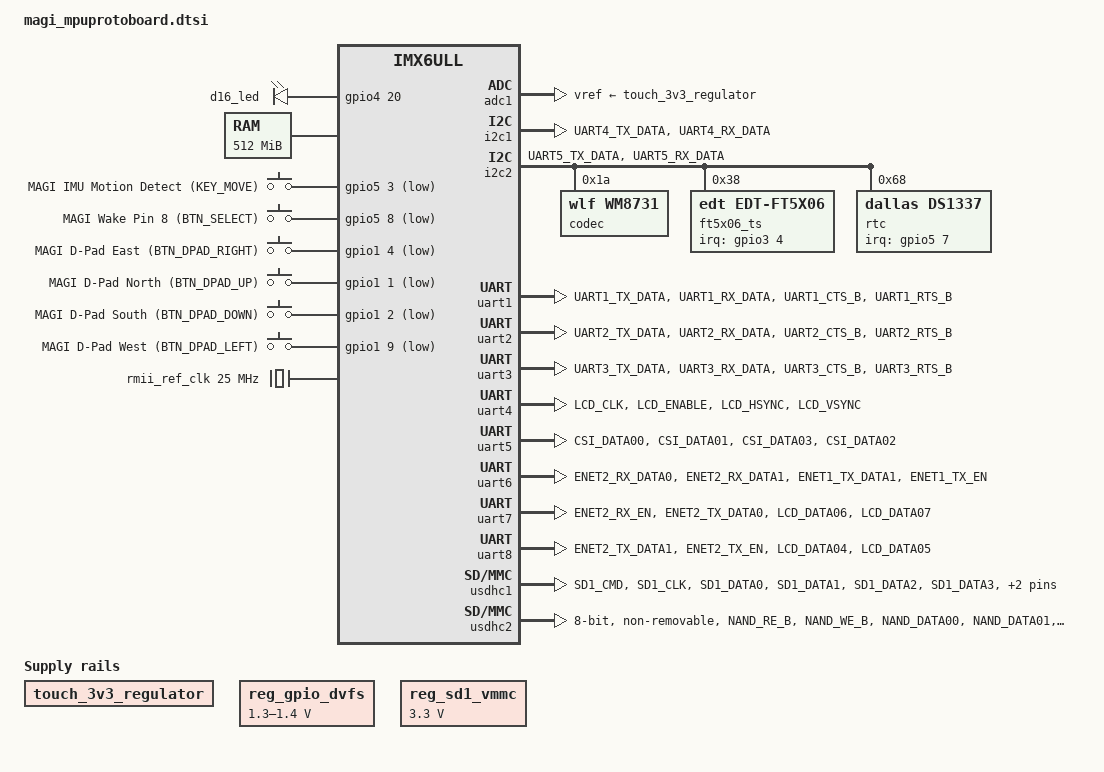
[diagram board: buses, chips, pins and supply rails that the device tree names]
/*
 * Copyright (C) 2015-2019 Variscite Ltd. - https://www.variscite.com
 *
 * This program is free software; you can redistribute it and/or modify
 * it under the terms of the GNU General Public License version 2 as
 * published by the Free Software Foundation.
 */

#include "imx6ull.dtsi"

/ {

  backlight {
		compatible = "pwm-backlight";
		pwms = <&pwm1 0 20000>;
		brightness-levels = <0 4 8 16 32 64 128 255>;
		default-brightness-level = <6>;
		status = "disabled";
	};

	chosen {
		stdout-path = &uart1;
	};

  /*keys {
		compatible = "gpio-keys";
		pinctrl-names = "default";
		pinctrl-0 = <&pinctrl_gpio_keys>;

		user {
			gpios = <&gpio1 0 GPIO_ACTIVE_LOW>;
			linux,code = <KEY_BACK>;
			gpio-key,wakeup;
		};
	};*/

	leds {
		compatible = "gpio-leds";
		pinctrl-names = "default";
		pinctrl-0 = <&pinctrl_gpio_leds>;

		d16_led {
			gpios = <&gpio4 20 GPIO_ACTIVE_HIGH>;
			linux,default-trigger = "heartbeat";
		};
	};

	memory {
		reg = <0x80000000 0x20000000>;
	};

	pxp_v4l2 {
		compatible = "fsl,imx6ul-pxp-v4l2", "fsl,imx6sx-pxp-v4l2", "fsl,imx6sl-pxp-v4l2";
		status = "disabled";
	};

	regulators {
		compatible = "simple-bus";
		#address-cells = <1>;
		#size-cells = <0>;

		touch_3v3_regulator: touch_3v3_regulator {
			compatible = "regulator-fixed";
			regulator-name = "touch_3v3_supply";
			regulator-always-on;
			status = "okay";
		};

		reg_gpio_dvfs: regulator-gpio {
			compatible = "regulator-gpio";
			regulator-min-microvolt = <1300000>;
			regulator-max-microvolt = <1400000>;
			regulator-name = "gpio_dvfs";
			regulator-type = "voltage";
			gpios = <&gpio4 13 GPIO_ACTIVE_HIGH>;
			states = <1300000 0x1 1400000 0x0>;
		};
        
    reg_sd1_vmmc: regulator_sd1_vmmc {
			compatible = "regulator-fixed";
			regulator-name = "VSD_3V3";
			regulator-min-microvolt = <3300000>;
			regulator-max-microvolt = <3300000>;
		};
	};

	sound {
		compatible = "simple-audio-card";
		simple-audio-card,name = "wm8731audio";
		simple-audio-card,widgets =
			"Headphone", "Headphone Jack",
			"Line", "Line Jack",
			"Microphone", "Mic Jack";
		simple-audio-card,routing =
			"Headphone Jack", "RHPOUT",
			"Headphone Jack", "LHPOUT",
			"LLINEIN", "Line Jack",
			"RLINEIN", "Line Jack",
			"MICIN", "Mic Bias",
			"Mic Bias", "Mic Jack";
		simple-audio-card,format = "i2s";
		simple-audio-card,bitclock-master = <&sound_master>;
		simple-audio-card,frame-master = <&sound_master>;

		sound_master: simple-audio-card,cpu {
			sound-dai = <&sai2>;
		};

		simple-audio-card,codec {
			sound-dai = <&codec>;
			system-clock-frequency = <12288000>;
		};
	};

  wakepins {
		compatible = "gpio-keys";
		pinctrl-names = "default";
		pinctrl-0 = <&pinctrl_wake_pins>;

    /*gpio5_io1 {
			label = "MAGI Wake Pin 1 (BTN_1)";
			gpios = <&gpio5 1 GPIO_ACTIVE_LOW>;
			linux,code = <BTN_1>;
			gpio-key,wakeup;
		};*/

		/* MCU Motion Alert */
    gpio5_io3 {
			label = "MAGI IMU Motion Detect (KEY_MOVE)";
			gpios = <&gpio5 3 GPIO_ACTIVE_LOW>;
			linux,code = <KEY_MOVE>;
			gpio-key,wakeup;
		};
        
    /*gpio5_io5 {
			label = "MAGI Wake Pin 5 (BTN_5)";
			gpios = <&gpio5 5 GPIO_ACTIVE_LOW>;
			linux,code = <BTN_5>;
			gpio-key,wakeup;
		};*/

		/* Keypad Select */
    gpio5_io8 {
			label = "MAGI Wake Pin 8 (BTN_SELECT)";
			gpios = <&gpio5 8 GPIO_ACTIVE_LOW>;
			linux,code = <BTN_SELECT>;
			gpio-key,wakeup;
		};

    /* Keypad East */
    gpio1_io4 {
			label = "MAGI D-Pad East (BTN_DPAD_RIGHT)";
			gpios = <&gpio1 4 GPIO_ACTIVE_LOW>;
			linux,code = <BTN_DPAD_RIGHT>;
			gpio-key,wakeup;
		};

		/* Keypad North */
    gpio1_io1 {
			label = "MAGI D-Pad North (BTN_DPAD_UP)";
			gpios = <&gpio1 1 GPIO_ACTIVE_LOW>;
			linux,code = <BTN_DPAD_UP>;
			gpio-key,wakeup;
		};

		/* Keypad South */
    gpio1_io2 {
			label = "MAGI D-Pad South (BTN_DPAD_DOWN)";
			gpios = <&gpio1 2 GPIO_ACTIVE_LOW>;
			linux,code = <BTN_DPAD_DOWN>;
			gpio-key,wakeup;
		};

		/* Keypad West */
    gpio1_io9 {
			label = "MAGI D-Pad West (BTN_DPAD_LEFT)";
			gpios = <&gpio1 9 GPIO_ACTIVE_LOW>;
			linux,code = <BTN_DPAD_LEFT>;
			gpio-key,wakeup;
		};
	};
};

&adc1 {
	vref-supply = <&touch_3v3_regulator>;
	status = "okay";
};

&can1 {
	pinctrl-names = "default";
	pinctrl-0 = <&pinctrl_flexcan1>;
	status = "disabled";
};

&clks {
  assigned-clocks = <&clks IMX6UL_CLK_PLL4_AUDIO_DIV>;
	assigned-clock-rates = <786432000>;

	/* ref_clk for micrel ethernet phy */
	rmii_ref_clk: rmii_ref_clk_grp {
		compatible = "fixed-clock";
		#clock-cells = <0>;
		clock-frequency = <25000000>;
		clock-output-names = "rmii-ref";
	};
};

&cpu0 {
	arm-supply = <&reg_arm>;
	soc-supply = <&reg_soc>;
	dc-supply = <&reg_gpio_dvfs>;
};

&fec1 {
	pinctrl-names = "default";
	pinctrl-0 = <&pinctrl_enet1>, <&pinctrl_enet1_gpio>;
	phy-mode = "rmii";
	phy-reset-gpios=<&gpio5 0 GPIO_ACTIVE_LOW>;
	phy-reset-duration=<100>;
	phy-reset-on-resume;
	phy-handle = <&ethphy0>;
	status = "disabled";

};

&fec2 {
	pinctrl-names = "default";
	pinctrl-0 = <&pinctrl_enet2>, <&pinctrl_enet2_gpio>, <&pinctrl_enet2_mdio>;
	phy-mode = "rmii";
	phy-handle = <&ethphy1>;
	phy-reset-gpios=<&gpio1 10 GPIO_ACTIVE_LOW>;
	phy-reset-duration=<100>;
	phy-reset-on-resume;
	status = "disabled";

	mdio {
		#address-cells = <1>;
		#size-cells = <0>;

		ethphy0: ethernet-phy@1 {
			compatible = "ethernet-phy-ieee802.3-c22";
			micrel,rmii-reference-clock-select-25-mhz;
			micrel,led-mode = <1>;
			clocks = <&rmii_ref_clk>;
			clock-names = "rmii-ref";
			reg = <1>;
		};

		ethphy1: ethernet-phy@3 {
			compatible = "ethernet-phy-ieee802.3-c22";
			micrel,rmii-reference-clock-select-25-mhz;
			micrel,led-mode = <1>;
			clocks = <&rmii_ref_clk>;
			clock-names = "rmii-ref";
			reg = <3>;
		};
	};
};

&gpc {
	fsl,cpu_pupscr_sw2iso = <0x2>;
	fsl,cpu_pupscr_sw = <0x1>;
	fsl,cpu_pdnscr_iso2sw = <0x1>;
	fsl,cpu_pdnscr_iso = <0x1>;
	fsl,ldo-bypass = <0>; /* DCDC, ldo-enable */
};

&i2c1 {
	clock_frequency = <400000>;
	pinctrl-names = "default";
	pinctrl-0 = <&pinctrl_i2c1>;
	status = "okay";
};

&i2c2 {
	clock_frequency = <100000>;
	pinctrl-names = "default";
	pinctrl-0 = <&pinctrl_i2c2>;
	status = "okay";

	/*bat_2: battery {
		compatible = "simple-battery";
		voltage-min-design-microvolt = <2700000>;
		energy-full-design-microwatt-hours = <18000000>;
		charge-full-design-microamp-hours = <5000000>;
		chem-id = <1202>;
	};

	bq27426_2: fuel-gauge@55 {
		compatible = "ti,bq27426";
		reg = <0x55>;
		monitored-battery = <&bat_2>;
	};*/

	codec: wm8731@1a {
		#sound-dai-cells = <0>;
		compatible = "wlf,wm8731";
		reg = <0x1a>;
		clocks = <&clks IMX6UL_CLK_SAI2>;
		clock-names = "mclk";
	};

	ft5x06_ts@38 {
		compatible = "edt,edt-ft5x06";
		reg = <0x38>;
		pinctrl-names = "default";
		pinctrl-0 = <&pinctrl_ft5x06_ts_gpio>;
		interrupt-parent = <&gpio3>;
		interrupts = <4 0>;
		touchscreen-size-x = <800>;
		touchscreen-size-y = <480>;
		touchscreen-inverted-x;
		touchscreen-inverted-y;
	};

	/* DS1337 RTC module */
	rtc@0x68 {
		compatible = "dallas,ds1337";
		reg = <0x68>;
		pinctrl-names = "default";
		pinctrl-0 = <&pinctrl_rtc>;
		interrupt-parent = <&gpio5>;
		interrupts = <7 IRQ_TYPE_EDGE_FALLING>;
	};
};

&iomuxc {

    pinctrl-names = "default";
	pinctrl-0 = <&pinctrl_hog>;

	pinctrl-0 = <&pinctrl_hog_1>;

  pinctrl_enet1: enet1grp {
		fsl,pins = <
			MX6UL_PAD_ENET1_RX_EN__ENET1_RX_EN	0x1b0b0
			MX6UL_PAD_ENET1_RX_ER__ENET1_RX_ER	0x1b0b0
			MX6UL_PAD_ENET1_RX_DATA0__ENET1_RDATA00	0x1b0b0
			MX6UL_PAD_ENET1_RX_DATA1__ENET1_RDATA01	0x1b0b0
			MX6UL_PAD_ENET1_TX_EN__ENET1_TX_EN	0x1b0b0
			MX6UL_PAD_ENET1_TX_DATA0__ENET1_TDATA00	0x1b0b0
			MX6UL_PAD_ENET1_TX_DATA1__ENET1_TDATA01	0x1b0b0
			MX6UL_PAD_ENET1_TX_CLK__ENET1_REF_CLK1	0x4001b031
		>;
	};    
    
  pinctrl_enet1_mdio: enet1_mdiogrp {
		fsl,pins = <
			MX6UL_PAD_GPIO1_IO06__ENET1_MDIO	0x1b0b0
			MX6UL_PAD_GPIO1_IO07__ENET1_MDC		0x1b0b0
		>;
	};

	pinctrl_enet2: enet2grp {
		fsl,pins = <
			MX6UL_PAD_ENET2_RX_EN__ENET2_RX_EN	0x1b0b0
			MX6UL_PAD_ENET2_RX_ER__ENET2_RX_ER	0x1b0b0
			MX6UL_PAD_ENET2_RX_DATA0__ENET2_RDATA00	0x1b0b0
			MX6UL_PAD_ENET2_RX_DATA1__ENET2_RDATA01	0x1b0b0
			MX6UL_PAD_ENET2_TX_EN__ENET2_TX_EN	0x1b0b0
			MX6UL_PAD_ENET2_TX_DATA0__ENET2_TDATA00	0x1b0b0
			MX6UL_PAD_ENET2_TX_DATA1__ENET2_TDATA01	0x1b0b0
			MX6UL_PAD_ENET2_TX_CLK__ENET2_REF_CLK2	0x4001b031
		>;
	};

	pinctrl_enet2_gpio: enet2_gpiogrp {
		fsl,pins = <
			MX6UL_PAD_JTAG_MOD__GPIO1_IO10		0x1b0b0 /* fec2 reset */
		>;
	};

	pinctrl_enet2_mdio: enet2_mdiogrp {
		fsl,pins = <
			MX6UL_PAD_GPIO1_IO06__ENET2_MDIO	0x1b0b0
			MX6UL_PAD_GPIO1_IO07__ENET2_MDC		0x1b0b0
		>;
	};

	pinctrl_flexcan1: flexcan1grp {
		fsl,pins = <
			MX6UL_PAD_LCD_DATA09__FLEXCAN1_RX	0x1b020
			MX6UL_PAD_LCD_DATA08__FLEXCAN1_TX	0x1b020
		>;
	};

	pinctrl_ft5x06_ts_gpio: ft5x06_ts_gpiogrp {
		fsl,pins = <
			MX6UL_PAD_LCD_RESET__GPIO3_IO04		0x80000000
		>;
	};

	/*pinctrl_gpio_keys: gpio_keysgrp {
		fsl,pins = <
			MX6UL_PAD_GPIO1_IO00__GPIO1_IO00	0x17059 /* User Button */
	/*	>;
	};*/

	pinctrl_gpio_leds: gpio_ledsgrp {
		fsl,pins = <
			MX6UL_PAD_CSI_HSYNC__GPIO4_IO20		0x1b0b0 /* User LED */
		>;
	};

  pinctrl_hog_1: hoggrp-1 {
    	fsl,pins = <
			MX6UL_PAD_LCD_DATA22__GPIO3_IO27	0x1b0b0
			MX6UL_PAD_LCD_DATA23__GPIO3_IO28    0x1b0b0
            MX6UL_PAD_JTAG_TMS__GPIO1_IO11      0x1b0b0
			MX6UL_PAD_JTAG_TDO__GPIO1_IO12	    0x1b0b0
			MX6UL_PAD_JTAG_TDI__GPIO1_IO13		0x1b0b0
            MX6UL_PAD_JTAG_TCK__GPIO1_IO14      0x1b0b0
            MX6UL_PAD_JTAG_TRST_B__GPIO1_IO15   0x1b0b0
			MX6UL_PAD_CSI_DATA04__GPIO4_IO25	0x1b0b0
			MX6UL_PAD_CSI_DATA05__GPIO4_IO26	0x1b0b0
            MX6UL_PAD_CSI_DATA06__GPIO4_IO27	0x1b0b0
			MX6UL_PAD_CSI_DATA07__GPIO4_IO28	0x1b0b0
		>;
	};

	pinctrl_i2c1: i2c1grp {
		fsl,pins = <
			MX6UL_PAD_UART4_TX_DATA__I2C1_SCL	0x4001b8b0
			MX6UL_PAD_UART4_RX_DATA__I2C1_SDA	0x4001b8b0
		>;
	};
    
  pinctrl_i2c2: i2c2grp {
		fsl,pins = <
			MX6UL_PAD_UART5_TX_DATA__I2C2_SCL	0x4001b8b0
			MX6UL_PAD_UART5_RX_DATA__I2C2_SDA	0x4001b8b0
		>;
	};

	pinctrl_lcdif_ctrl: lcdifctrlgrp {
		fsl,pins = <
			MX6UL_PAD_LCD_CLK__LCDIF_CLK		0x79
			MX6UL_PAD_LCD_ENABLE__LCDIF_ENABLE	0x79
		>;
	};

	pinctrl_lcdif_dat: lcdifdatgrp {
		fsl,pins = <
			MX6UL_PAD_LCD_DATA02__LCDIF_DATA02	0x79
			MX6UL_PAD_LCD_DATA03__LCDIF_DATA03	0x79
			MX6UL_PAD_LCD_DATA04__LCDIF_DATA04	0x79
			MX6UL_PAD_LCD_DATA05__LCDIF_DATA05	0x79
			MX6UL_PAD_LCD_DATA06__LCDIF_DATA06	0x79
			MX6UL_PAD_LCD_DATA07__LCDIF_DATA07	0x79
			MX6UL_PAD_LCD_DATA10__LCDIF_DATA10	0x79
			MX6UL_PAD_LCD_DATA11__LCDIF_DATA11	0x79
			MX6UL_PAD_LCD_DATA12__LCDIF_DATA12	0x79
			MX6UL_PAD_LCD_DATA13__LCDIF_DATA13	0x79
			MX6UL_PAD_LCD_DATA14__LCDIF_DATA14	0x79
			MX6UL_PAD_LCD_DATA15__LCDIF_DATA15	0x79
			MX6UL_PAD_LCD_DATA18__LCDIF_DATA18	0x79
			MX6UL_PAD_LCD_DATA19__LCDIF_DATA19	0x79
			MX6UL_PAD_LCD_DATA20__LCDIF_DATA20	0x79
			MX6UL_PAD_LCD_DATA21__LCDIF_DATA21	0x79
			MX6UL_PAD_LCD_DATA22__LCDIF_DATA22	0x79
			MX6UL_PAD_LCD_DATA23__LCDIF_DATA23	0x79
		>;
	};

	pinctrl_pwm1: pwm1grp {
		fsl,pins = <
			MX6UL_PAD_LCD_DATA00__PWM1_OUT		0x110b0
		>;
	};

  pinctrl_sai2: sai2grp {
		fsl,pins = <
			MX6UL_PAD_JTAG_TDI__SAI2_TX_BCLK	0x17088
			MX6UL_PAD_JTAG_TDO__SAI2_TX_SYNC	0x17088
			MX6UL_PAD_JTAG_TRST_B__SAI2_TX_DATA	0x11088
			MX6UL_PAD_JTAG_TCK__SAI2_RX_DATA	0x11088
			MX6UL_PAD_JTAG_TMS__SAI2_MCLK		0x17088
		>;
	};

	pinctrl_tsc: tscgrp {
		fsl,pins = <
			MX6UL_PAD_GPIO1_IO01__GPIO1_IO01	0xb0
			MX6UL_PAD_GPIO1_IO02__GPIO1_IO02	0xb0
			MX6UL_PAD_GPIO1_IO03__GPIO1_IO03	0xb0
			MX6UL_PAD_GPIO1_IO04__GPIO1_IO04	0xb0
		>;
	};

	pinctrl_uart1: uart1grp {
		fsl,pins = <
			MX6UL_PAD_UART1_TX_DATA__UART1_DCE_TX   0x1b0b1
			MX6UL_PAD_UART1_RX_DATA__UART1_DCE_RX   0x1b0b1
            MX6UL_PAD_UART1_CTS_B__UART1_DCE_CTS    0x1b0b1
            MX6UL_PAD_UART1_RTS_B__UART1_DCE_RTS    0x1b0b1
		>;
	};

  pinctrl_uart2: uart2grp {
		fsl,pins = <
			MX6UL_PAD_UART2_TX_DATA__UART2_DCE_TX	0x1b0b1
			MX6UL_PAD_UART2_RX_DATA__UART2_DCE_RX	0x1b0b1
			MX6UL_PAD_UART2_CTS_B__UART2_DCE_CTS	0x1b0b1
			MX6UL_PAD_UART2_RTS_B__UART2_DCE_RTS	0x1b0b1
		>;
	};

	pinctrl_uart3: uart3grp {
		fsl,pins = <
			MX6UL_PAD_UART3_TX_DATA__UART3_DCE_TX	0x1b0b1
			MX6UL_PAD_UART3_RX_DATA__UART3_DCE_RX	0x1b0b1
			MX6UL_PAD_UART3_CTS_B__UART3_DCE_CTS	0x1b0b1
			MX6UL_PAD_UART3_RTS_B__UART3_DCE_RTS	0x1b0b1
		>;
	};

  pinctrl_uart4: uart4grp {
		fsl,pins = <
			MX6UL_PAD_LCD_CLK__UART4_DCE_TX     0x1b0b1
			MX6UL_PAD_LCD_ENABLE__UART4_DCE_RX	0x1b0b1
			MX6UL_PAD_LCD_HSYNC__UART4_DCE_CTS	0x1b0b1
			MX6UL_PAD_LCD_VSYNC__UART4_DCE_RTS	0x1b0b1
		>;
	};

  pinctrl_uart5: uart5grp {
		fsl,pins = <
			MX6UL_PAD_CSI_DATA00__UART5_DCE_TX      0x1b0b1
			MX6UL_PAD_CSI_DATA01__UART5_DCE_RX	    0x1b0b1
			MX6UL_PAD_CSI_DATA03__UART5_DCE_CTS     0x1b0b1
			MX6UL_PAD_CSI_DATA02__UART5_DCE_RTS	    0x1b0b1
		>;
	};

  pinctrl_uart6: uart6grp {
		fsl,pins = <
			MX6UL_PAD_ENET2_RX_DATA0__UART6_DCE_TX      0x1b0b1
			MX6UL_PAD_ENET2_RX_DATA1__UART6_DCE_RX	    0x1b0b1
			MX6UL_PAD_ENET1_TX_DATA1__UART6_DCE_CTS     0x1b0b1
			MX6UL_PAD_ENET1_TX_EN__UART6_DCE_RTS	    0x1b0b1
		>;
	};

  pinctrl_uart7: uart7grp {
		fsl,pins = <
			MX6UL_PAD_ENET2_RX_EN__UART7_DCE_TX     0x1b0b1
			MX6UL_PAD_ENET2_TX_DATA0__UART7_DCE_RX  0x1b0b1
			MX6UL_PAD_LCD_DATA06__UART7_DCE_CTS	    0x1b0b1
			MX6UL_PAD_LCD_DATA07__UART7_DCE_RTS	    0x1b0b1
		>;
	};

  pinctrl_uart8: uart8grp {
		fsl,pins = <
			MX6UL_PAD_ENET2_TX_DATA1__UART8_DCE_TX  0x1b0b1
			MX6UL_PAD_ENET2_TX_EN__UART8_DCE_RX	    0x1b0b1
            MX6UL_PAD_LCD_DATA04__UART8_DCE_CTS     0x1b0b1
            MX6UL_PAD_LCD_DATA05__UART8_DCE_RTS     0x1b0b1
		>;
	};

	pinctrl_usdhc1: usdhc1grp {
		fsl,pins = <
			MX6UL_PAD_SD1_CMD__USDHC1_CMD		0x17059
			MX6UL_PAD_SD1_CLK__USDHC1_CLK		0x17059
			MX6UL_PAD_SD1_DATA0__USDHC1_DATA0	0x17059
			MX6UL_PAD_SD1_DATA1__USDHC1_DATA1	0x17059
			MX6UL_PAD_SD1_DATA2__USDHC1_DATA2	0x17059
			MX6UL_PAD_SD1_DATA3__USDHC1_DATA3	0x17059
		>;
	};

	pinctrl_usdhc1_100mhz: usdhc1grp100mhz {
		fsl,pins = <
			MX6UL_PAD_SD1_CMD__USDHC1_CMD		0x170b9
			MX6UL_PAD_SD1_CLK__USDHC1_CLK		0x100b9
			MX6UL_PAD_SD1_DATA0__USDHC1_DATA0	0x170b9
			MX6UL_PAD_SD1_DATA1__USDHC1_DATA1	0x170b9
			MX6UL_PAD_SD1_DATA2__USDHC1_DATA2	0x170b9
			MX6UL_PAD_SD1_DATA3__USDHC1_DATA3	0x170b9
		>;
	};

	pinctrl_usdhc1_200mhz: usdhc1grp200mhz {
		fsl,pins = <
			MX6UL_PAD_SD1_CMD__USDHC1_CMD		0x170f9
			MX6UL_PAD_SD1_CLK__USDHC1_CLK		0x100f9
			MX6UL_PAD_SD1_DATA0__USDHC1_DATA0	0x170f9
			MX6UL_PAD_SD1_DATA1__USDHC1_DATA1	0x170f9
			MX6UL_PAD_SD1_DATA2__USDHC1_DATA2	0x170f9
			MX6UL_PAD_SD1_DATA3__USDHC1_DATA3	0x170f9
		>;
	};

	pinctrl_usdhc1_gpio: usdhc1_gpiogrp {
		fsl,pins = <
			MX6UL_PAD_CSI_VSYNC__GPIO4_IO19		0x1b0b1 /* CD */
		>;
	};

  pinctrl_usdhc2: usdhc2grp {
		fsl,pins = <
			MX6UL_PAD_NAND_RE_B__USDHC2_CLK		0x10069
			MX6UL_PAD_NAND_WE_B__USDHC2_CMD		0x17059
			MX6UL_PAD_NAND_DATA00__USDHC2_DATA0	0x17059
			MX6UL_PAD_NAND_DATA01__USDHC2_DATA1	0x17059
			MX6UL_PAD_NAND_DATA02__USDHC2_DATA2	0x17059
			MX6UL_PAD_NAND_DATA03__USDHC2_DATA3	0x17059
			MX6UL_PAD_NAND_DATA04__USDHC2_DATA4	0x17059
			MX6UL_PAD_NAND_DATA05__USDHC2_DATA5	0x17059
			MX6UL_PAD_NAND_DATA06__USDHC2_DATA6	0x17059
			MX6UL_PAD_NAND_DATA07__USDHC2_DATA7	0x17059
		>;
	};

	pinctrl_usdhc2_100mhz: usdhc2grp_100mhz {
		fsl,pins = <
			MX6UL_PAD_NAND_RE_B__USDHC2_CLK		0x100b9
			MX6UL_PAD_NAND_WE_B__USDHC2_CMD		0x170b9
			MX6UL_PAD_NAND_DATA00__USDHC2_DATA0	0x170b9
			MX6UL_PAD_NAND_DATA01__USDHC2_DATA1	0x170b9
			MX6UL_PAD_NAND_DATA02__USDHC2_DATA2	0x170b9
			MX6UL_PAD_NAND_DATA03__USDHC2_DATA3	0x170b9
			MX6UL_PAD_NAND_DATA04__USDHC2_DATA4	0x170b9
			MX6UL_PAD_NAND_DATA05__USDHC2_DATA5	0x170b9
			MX6UL_PAD_NAND_DATA06__USDHC2_DATA6	0x170b9
			MX6UL_PAD_NAND_DATA07__USDHC2_DATA7	0x170b9
		>;
	};

	pinctrl_usdhc2_200mhz: usdhc2grp_200mhz {
		fsl,pins = <
			MX6UL_PAD_NAND_RE_B__USDHC2_CLK		0x100f9
			MX6UL_PAD_NAND_WE_B__USDHC2_CMD		0x170f9
			MX6UL_PAD_NAND_DATA00__USDHC2_DATA0	0x170f9
			MX6UL_PAD_NAND_DATA01__USDHC2_DATA1	0x170f9
			MX6UL_PAD_NAND_DATA02__USDHC2_DATA2	0x170f9
			MX6UL_PAD_NAND_DATA03__USDHC2_DATA3	0x170f9
			MX6UL_PAD_NAND_DATA04__USDHC2_DATA4	0x170f9
			MX6UL_PAD_NAND_DATA05__USDHC2_DATA5	0x170f9
			MX6UL_PAD_NAND_DATA06__USDHC2_DATA6	0x170f9
			MX6UL_PAD_NAND_DATA07__USDHC2_DATA7	0x170f9
		>;
	};


  pinctrl_wake_pins: gpio_wakepinsgrp {
		fsl,pins = <
            MX6UL_PAD_SNVS_TAMPER1__GPIO5_IO01      0x1b0b0            
            MX6UL_PAD_SNVS_TAMPER3__GPIO5_IO03      0x1b0b0             
            MX6UL_PAD_SNVS_TAMPER5__GPIO5_IO05      0x1b0b0 
            MX6UL_PAD_SNVS_TAMPER8__GPIO5_IO08      0x1b0b0
            MX6UL_PAD_SNVS_TAMPER9__GPIO5_IO09      0x1b0b0
		>;
	};


  pinctrl_wdog: wdoggrp {
		fsl,pins = <
			MX6UL_PAD_GPIO1_IO08__WDOG1_WDOG_B	0x78b0
		>;
	};

};

&iomuxc_snvs {
	pinctrl-names = "default";
	pinctrl-0 = <&pinctrl_hog_2>;

	pinctrl_hog_2: hoggrp-2 {
		fsl,pins = <
			MX6ULL_PAD_SNVS_TAMPER4__GPIO5_IO04	0x1b0b0	/* BT Enable */
			MX6ULL_PAD_SNVS_TAMPER6__GPIO5_IO06	0x03029	/* WLAN Enable */
		>;
	};

	pinctrl_enet1_gpio: enet1_gpiogrp {
		fsl,pins = <
			MX6ULL_PAD_SNVS_TAMPER0__GPIO5_IO00	0x1b0b0 /* fec1 reset */
		>;
	};

	pinctrl_rtc: rtcgrp {
		fsl,pins = <
			MX6ULL_PAD_SNVS_TAMPER7__GPIO5_IO07	0x1b0b0 /* RTC alarm IRQ */
		>;
	};
};

&lcdif {
	pinctrl-names = "default";
	pinctrl-0 = <&pinctrl_lcdif_dat
		     &pinctrl_lcdif_ctrl>;
	display = <&display0>;
	status = "disabled";

	display0: display {
		bits-per-pixel = <16>;
		bus-width = <24>;

		display-timings {
			native-mode = <&timing0>;
			timing0: timing0 {
				clock-frequency =<35000000>;
				hactive = <800>;
				vactive = <480>;
				hfront-porch = <40>;
				hback-porch = <40>;
				hsync-len = <48>;
				vback-porch = <29>;
				vfront-porch = <13>;
				vsync-len = <3>;
				hsync-active = <0>;
				vsync-active = <0>;
				de-active = <1>;
				pixelclk-active = <0>;
			};
		};
	};
};

&pwm1 {
	pinctrl-names = "default";
	pinctrl-0 = <&pinctrl_pwm1>;
	status = "disabled";
};

&pxp {
	status = "disabled";
};

&sai2 {
	pinctrl-names = "default";
	pinctrl-0 = <&pinctrl_sai2>;
	assigned-clocks = <&clks IMX6UL_CLK_SAI2_SEL>,
			  <&clks IMX6UL_CLK_SAI2>;
	assigned-clock-parents = <&clks IMX6UL_CLK_PLL4_AUDIO_DIV>;
	assigned-clock-rates = <0>, <12288000>;
	fsl,sai-mclk-direction-output;
	status = "disabled";
};


&snvs_poweroff {
	status = "okay";
};

&tsc {
	pinctrl-names = "default";
	pinctrl-0 = <&pinctrl_tsc>;
	xnur-gpio = <&gpio1 3 GPIO_ACTIVE_LOW>;
	measure_delay_time = <0xffff>;
	pre_charge_time = <0xfff>;
	status = "disabled";
};

/* Console UART */
&uart1 {
	pinctrl-names = "default";
	pinctrl-0 = <&pinctrl_uart1>;
	status = "okay";
};

/* Bluetooth UART */
&uart2 {
	pinctrl-names = "default";
	pinctrl-0 = <&pinctrl_uart2>;
	uart-has-rtscts;
	status = "okay";
};

/* ttymxc2 UART */
&uart3 {
	pinctrl-names = "default";
	pinctrl-0 = <&pinctrl_uart3>;
	fsl,uart-has-rtscts;
	status = "okay";
};

/* ttymxc3 UART */
&uart4 {
	pinctrl-names = "default";
	pinctrl-0 = <&pinctrl_uart4>;
	fsl,uart-has-rtscts;
	status = "okay";
};

/* ttymxc4 UART */
&uart5 {
	pinctrl-names = "default";
	pinctrl-0 = <&pinctrl_uart5>;
	fsl,uart-has-rtscts;
	status = "okay";
};

/* ttymxc5 UART */
&uart6 {
	pinctrl-names = "default";
	pinctrl-0 = <&pinctrl_uart6>;
	fsl,uart-has-rtscts;
	status = "okay";
};

/* ttymxc6 UART */
&uart7 {
	pinctrl-names = "default";
	pinctrl-0 = <&pinctrl_uart7>;
	fsl,uart-has-rtscts;
	status = "okay";
};

/* ttymxc7 UART */
&uart8 {
	pinctrl-names = "default";
	pinctrl-0 = <&pinctrl_uart8>;
	status = "okay";
};

&usbotg1 {
	dr_mode = "host";
	status = "disabled";
};

&usbotg2 {
	dr_mode = "host";
	status = "disabled";
};

&usdhc1 {
	pinctrl-names = "default", "state_100mhz", "state_200mhz";
	pinctrl-0 = <&pinctrl_usdhc1>, <&pinctrl_usdhc1_gpio>;
	pinctrl-1 = <&pinctrl_usdhc1_100mhz>, <&pinctrl_usdhc1_gpio>;
	pinctrl-2 = <&pinctrl_usdhc1_200mhz>, <&pinctrl_usdhc1_gpio>;
	cd-gpios = <&gpio4 19 GPIO_ACTIVE_LOW>;
	no-1-8-v;
	keep-power-in-suspend;
	enable-sdio-wakeup;
	status = "okay";
};

&usdhc2 {
	pinctrl-names = "default", "state_100mhz", "state_200mhz";
	pinctrl-0 = <&pinctrl_usdhc2>;
	pinctrl-1 = <&pinctrl_usdhc2_100mhz>;
	pinctrl-2 = <&pinctrl_usdhc2_200mhz>;
	bus-width = <8>;
	no-1-8-v;
	non-removable;
	keep-power-in-suspend;
	enable-sdio-wakeup;
	status = "okay";
};

&wdog1 {
	pinctrl-names = "default";
	pinctrl-0 = <&pinctrl_wdog>;
	fsl,ext-reset-output;
};
